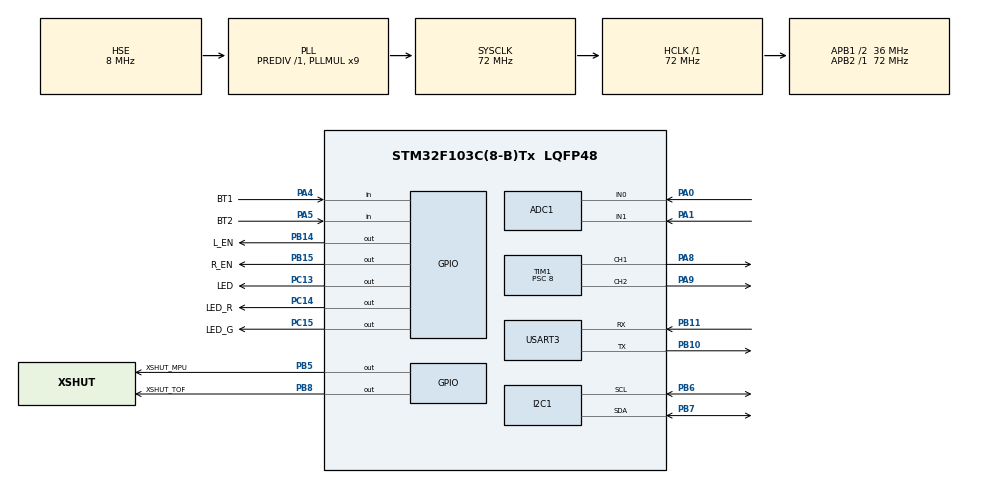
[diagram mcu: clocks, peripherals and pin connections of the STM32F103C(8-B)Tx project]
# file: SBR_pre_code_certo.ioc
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ADC1.Channel-0\#ChannelRegularConversion=ADC_CHANNEL_0
ADC1.Channel-1\#ChannelRegularConversion=ADC_CHANNEL_1
ADC1.ContinuousConvMode=ENABLE
ADC1.NbrOfConversion=2
ADC1.NbrOfConversionFlag=1
ADC1.Rank-0\#ChannelRegularConversion=1
ADC1.Rank-1\#ChannelRegularConversion=2
ADC1.SamplingTime-0\#ChannelRegularConversion=ADC_SAMPLETIME_28CYCLES_5
ADC1.SamplingTime-1\#ChannelRegularConversion=ADC_SAMPLETIME_28CYCLES_5
ADC1.master=1
Dma.ADC1.0.Direction=DMA_PERIPH_TO_MEMORY
Dma.ADC1.0.Instance=DMA1_Channel1
Dma.ADC1.0.MemDataAlignment=DMA_MDATAALIGN_WORD
Dma.ADC1.0.MemInc=DMA_MINC_ENABLE
Dma.ADC1.0.Mode=DMA_CIRCULAR
Dma.ADC1.0.PeriphDataAlignment=DMA_PDATAALIGN_WORD
Dma.ADC1.0.PeriphInc=DMA_PINC_DISABLE
Dma.ADC1.0.Priority=DMA_PRIORITY_LOW
Dma.Request0=ADC1
Mcu.Family=STM32F1
Mcu.Name=STM32F103C(8-B)Tx
Mcu.Package=LQFP48
NVIC.DMA1_Channel1_IRQn=true\:0\:0\:false\:false\:true\:false\:true
NVIC.PriorityGroup=NVIC_PRIORITYGROUP_4
NVIC.TIM2_IRQn=true\:0\:0\:false\:false\:true\:true\:true
PA0-WKUP.Signal=ADCx_IN0
PA1.Signal=ADCx_IN1
PA13.Mode=Serial_Wire
PA13.Signal=SYS_JTMS-SWDIO
PA14.Mode=Serial_Wire
PA14.Signal=SYS_JTCK-SWCLK
PA4.GPIO_Label=BT1
PA4.Signal=GPIO_Input
PA5.GPIO_Label=BT2
PA5.Signal=GPIO_Input
PA8.Signal=S_TIM1_CH1
PA9.Signal=S_TIM1_CH2
PB10.Mode=Asynchronous
PB10.Signal=USART3_TX
PB11.Mode=Asynchronous
PB11.Signal=USART3_RX
PB14.GPIO_Label=L_EN
PB14.Signal=GPIO_Output
PB15.GPIO_Label=R_EN
PB15.Signal=GPIO_Output
PB5.GPIO_Label=XSHUT_MPU
PB5.Signal=GPIO_Output
PB6.Mode=I2C
PB6.Signal=I2C1_SCL
PB7.Mode=I2C
PB7.Signal=I2C1_SDA
PB8.GPIO_Label=XSHUT_TOF
PB8.Signal=GPIO_Output
PC13-TAMPER-RTC.GPIO_Label=LED
PC13-TAMPER-RTC.Signal=GPIO_Output
PC14-OSC32_IN.GPIO_Label=LED_R
PC14-OSC32_IN.Signal=GPIO_Output
PC15-OSC32_OUT.GPIO_Label=LED_G
PC15-OSC32_OUT.Signal=GPIO_Output
PD0-OSC_IN.Mode=HSE-External-Oscillator
PD0-OSC_IN.Signal=RCC_OSC_IN
PD1-OSC_OUT.Mode=HSE-External-Oscillator
PD1-OSC_OUT.Signal=RCC_OSC_OUT
ProjectManager.HeapSize=0x200
ProjectManager.StackSize=0x400
ProjectManager.TargetToolchain=MDK-ARM V5.27
RCC.ADCPresc=RCC_ADCPCLK2_DIV6
RCC.AHBFreq_Value=72000000
RCC.APB1CLKDivider=RCC_HCLK_DIV2
RCC.APB1Freq_Value=36000000
RCC.APB1TimFreq_Value=72000000
RCC.APB2Freq_Value=72000000
RCC.APB2TimFreq_Value=72000000
RCC.HCLKFreq_Value=72000000
RCC.PLLMUL=RCC_PLL_MUL9
RCC.PLLSourceVirtual=RCC_PLLSOURCE_HSE
RCC.SYSCLKFreq_VALUE=72000000
RCC.SYSCLKSource=RCC_SYSCLKSOURCE_PLLCLK
RCC.USBFreq_Value=72000000
SH.ADCx_IN0.0=ADC1_IN0,IN0
SH.ADCx_IN1.0=ADC1_IN1,IN1
SH.S_TIM1_CH1.0=TIM1_CH1,PWM Generation1 CH1
SH.S_TIM1_CH2.0=TIM1_CH2,PWM Generation2 CH2
TIM1.Channel-PWM\ Generation1\ CH1=TIM_CHANNEL_1
TIM1.Channel-PWM\ Generation2\ CH2=TIM_CHANNEL_2
TIM1.Period=7999
TIM1.Prescaler=8
TIM2.Period=1199
TIM2.Prescaler=2
USART3.VirtualMode=VM_ASYNC
VP_TIM1_VS_ClockSourceINT.Mode=Internal
VP_TIM2_VS_ClockSourceINT.Mode=Internal
board=custom

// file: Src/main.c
/* USER CODE BEGIN Header */
/**
  ******************************************************************************
  * @file           : main.c
  * @brief          : Main program body
  ******************************************************************************
  * @attention
  *
  * <h2><center>&copy; Copyright (c) 2019 STMicroelectronics.
  * All rights reserved.</center></h2>
  *
  * This software component is licensed by ST under BSD 3-Clause license,
  * the "License"; You may not use this file except in compliance with the
  * License. You may obtain a copy of the License at:
  *                        opensource.org/licenses/BSD-3-Clause
  *
  ******************************************************************************
  */
/* USER CODE END Header */

#include "main.h"

/* USER CODE BEGIN Includes */
#include "VL53L0X.h"
#include "sd_hal_mpu6050.h"
#include "math.h"
/* USER CODE END Includes */

/* USER CODE BEGIN PD */

/******************************************************************************
VL53L0X DEFINITIONS:
		LONG_RANGE: increases the sensitivity of the sensor and extends its
								potential range, but increases the likelihood of getting an
								inaccurate reading because of reflections from objects other
								than the intended target. It works best in dark conditions.
		HIGH_SPEED:	higher speed at the cost of lower accuracy. OR
 HIGH_ACCURACY:	higher accuracy at the cost of lower speed.
 ******************************************************************************/

//#define LONG_RANGE
#define HIGH_SPEED
//#define HIGH_ACCURACY

#define PI  3.14159265359
#define n   5

/* USER CODE END PD */

ADC_HandleTypeDef hadc1;
DMA_HandleTypeDef hdma_adc1;

I2C_HandleTypeDef hi2c1;

TIM_HandleTypeDef htim1;
TIM_HandleTypeDef htim2;

UART_HandleTypeDef huart3;

/* USER CODE BEGIN PV */

// Estruturas MPU6050
SD_MPU6050 mpu1;						// Variáveis da leitura
SD_MPU6050_Result result;		// Resultado da inicialização

// Variáveis de leitura do MPU6050
int16_t g_x = 0;
int16_t g_y = 0;
int16_t g_z = 0;
int16_t a_x = 0;
int16_t a_y = 0;
int16_t a_z = 0;

// Contagem de tempo
uint32_t timer = 0;
double delta_t = 0.0;

// Medição do ângulo
double roll = 0.0;

//Variaveis da biblioteca Kalman
double Q_angle = 0.001;
double Q_bias = 0.003;
double R_measure = 0.03;

double angle = 0.0; 	// Reset the angle
double rate = 0.0;
double bias = 0.0; 		// Reset bias
double gyroXrate = 0.0;
double gyroXangle = 0.0;
double compAngleX = 0.0;
double kalAngleX = 0.0;

float P[2][2];		// Since we assume that the bias is 0 and we know the starting angle (use setAngle), the error covariance matrix is set like so - see: http://en.wikipedia.org/wiki/Kalman_filter#Example_application.2C_technical

// Estrutura de parâmetros iniciais do VL53L0X
struct VL53L0X myTOFsensor = {.hi2c = &hi2c1, .io_2v8 = true, .address = 0x29, .io_timeout = 800, .did_timeout = false};

// Variáveis de medição para o VL53L0X
uint16_t distance = 65535;
uint16_t testValue = 65535;

// Checagem de funcionamento dos sensores
bool VL53L0X_OK = false;
bool MPU6050_OK = false;

// Leitura dos botões
bool bt1 = false;
bool bt2 = false;

// Leitura de velocidade
double velocidade = 0.0;
double sentido = 0.0;

// Variáveis de início e parada
bool parar = true;
bool equilibrio = false;
bool distancia = false;

// Mínimos e máximos de PWM
double PWM_max_eq = 0.0;
double PWM_max_dt = 0.0;
double PWM_min_hr = 0.0;
double PWM_min_ahr = 0.0;
double PWM = 0.0;

// Variáveis de controle dos motores (controle de ângulo/equilibrio)
double erro_mt = 0.0;
double erro_mt_a = 0.0;

double PID_mt = 0.0;
double P_mt = 0.0;
double D_mt = 0.0;
double I_mt = 0.0;
double I_mt_a = 0.0;

double kp_mt = 0.0;
double ki_mt = 0.0;
double kd_mt = 0.0;

double setpoint_angle = 0.0;

// Variáveis de controle do setpoint do ângulo (controle de velocidade)
double erro_vl = 0.0;
double erro_vl_a = 0.0;

double PID_vl = 0.0;
double P_vl = 0.0;
double D_vl = 0.0;
double I_vl = 0.0;
double I_vl_a = 0.0;

double kp_vl = 0.0;
double ki_vl = 0.0;
double kd_vl = 0.0;

double setpoint_angle_min = 0.0;
double setpoint_angle_max = 0.0;
double setpoint_angle_PID = 0.0;

double setpoint_velocidade_eq = 0.0;

// Váriáveis de controle de distância
double erro_dt = 0.0;
double erro_dt_a = 0.0;

double PID_dt = 0.0;
double P_dt= 0.0;
double D_dt= 0.0;
double I_dt = 0.0;
double I_dt_a = 0.0;

double kp_dt = 0.0;
double ki_dt = 0.0;
double kd_dt = 0.0;

double setpoint_velocidade_min = 0.0;
double setpoint_velocidade_max = 0.0;
double setpoint_velocidade_dt = 0.0;

double setpoint_distancia = 0.0;

double distance_mm[n];
double distance_mm_a[n];

uint32_t ADT[2];							// Vetor que armazena as leituras do ADC1

/* USER CODE END PV */

void SystemClock_Config(void);
static void MX_GPIO_Init(void);
static void MX_DMA_Init(void);
static void MX_ADC1_Init(void);
static void MX_I2C1_Init(void);
static void MX_TIM1_Init(void);
static void MX_USART3_UART_Init(void);
static void MX_TIM2_Init(void);

/* USER CODE BEGIN 0 */

bool Reset_MPU6050()
{
	bool working = false;

	HAL_GPIO_WritePin(XSHUT_MPU_GPIO_Port, XSHUT_MPU_Pin, GPIO_PIN_RESET);	// Tira a energia do CI
	HAL_Delay(50);
	HAL_GPIO_WritePin(XSHUT_MPU_GPIO_Port, XSHUT_MPU_Pin, GPIO_PIN_SET);		// Retorna a energia do CI

	HAL_Delay(1000);

	result = SD_MPU6050_Init(&hi2c1,&mpu1,SD_MPU6050_Device_0,SD_MPU6050_Accelerometer_2G,SD_MPU6050_Gyroscope_250s );
	if (result == SD_MPU6050_Result_Ok)	working = true;			// Checa se o sensor está funcionando

	return working;
}

bool Reset_VL53L0X()
{
	bool working = false;

	HAL_GPIO_WritePin(XSHUT_TOF_GPIO_Port, XSHUT_TOF_Pin, GPIO_PIN_RESET);	// Tira a energis do CI
	HAL_Delay(50);
	HAL_GPIO_WritePin(XSHUT_TOF_GPIO_Port, XSHUT_TOF_Pin, GPIO_PIN_SET);		// Retorna a energia do CI

	if (VL53L0X_init(&myTOFsensor))
	{ // Se o sensor iniciou...
		VL53L0X_startContinuous(&myTOFsensor, 0);		// Habilita a medição
		for (int k = 0; k < 2; k++)			// Realiza 3 medições
		{
			testValue = VL53L0X_readRangeContinuousMillimeters(&myTOFsensor);

			if (testValue > 8500 || VL53L0X_timeoutOccurred(&myTOFsensor))
			{ // Se a medição saiu do range ou ocorreu um timeout...
				VL53L0X_stopContinuous(&myTOFsensor);		// Desabilita a medição
				working = false;
				break;
			}
			else 	// Se a medição ocorreu conforme esperado...
			{
				working = true;
			}
		}
	}

	return working;
}

void Motor_Horario(int velocidade)
{
		HAL_GPIO_WritePin(L_EN_GPIO_Port,L_EN_Pin,GPIO_PIN_SET);
		HAL_GPIO_WritePin(R_EN_GPIO_Port,R_EN_Pin,GPIO_PIN_SET);
		TIM1 -> CCR1 = velocidade;
		TIM1 -> CCR2 = 0;
}

void Motor_AntiHorario(int velocidade)
{
		HAL_GPIO_WritePin(L_EN_GPIO_Port,L_EN_Pin,GPIO_PIN_SET);
		HAL_GPIO_WritePin(R_EN_GPIO_Port,R_EN_Pin,GPIO_PIN_SET);
		TIM1 -> CCR1 = 0;
		TIM1 -> CCR2 = velocidade;
}

void Motor_Parar()
{
		HAL_GPIO_WritePin(L_EN_GPIO_Port,L_EN_Pin,GPIO_PIN_RESET);
		HAL_GPIO_WritePin(R_EN_GPIO_Port,R_EN_Pin,GPIO_PIN_RESET);
		TIM1 -> CCR1 = 0;
		TIM1 -> CCR2 = 0;
}

void LedG_Liga()
{
	HAL_GPIO_WritePin(LED_G_GPIO_Port,LED_G_Pin, GPIO_PIN_SET);
}

void LedG_Desliga()
{
	HAL_GPIO_WritePin(LED_G_GPIO_Port,LED_G_Pin, GPIO_PIN_RESET);
}

void LedR_Liga()
{
	HAL_GPIO_WritePin(LED_R_GPIO_Port,LED_R_Pin, GPIO_PIN_SET);
}

void LedR_Desliga()
{
	HAL_GPIO_WritePin(LED_R_GPIO_Port,LED_R_Pin, GPIO_PIN_RESET);
}

void Leitura_Botoes()
{
	if(!bt2 && !bt1)
	{
		if(HAL_GPIO_ReadPin(BT1_GPIO_Port,BT1_Pin) == GPIO_PIN_SET)
		{
			HAL_Delay(30);
			if(HAL_GPIO_ReadPin(BT1_GPIO_Port,BT1_Pin) == GPIO_PIN_SET)
			{
				while(HAL_GPIO_ReadPin(BT1_GPIO_Port,BT1_Pin) == GPIO_PIN_SET);
				bt1 = true;
			}
		}
	}
	else if(!bt2 && bt1)
	{
		if(HAL_GPIO_ReadPin(BT1_GPIO_Port,BT1_Pin) == GPIO_PIN_SET)
		{
			HAL_Delay(30);
			if(HAL_GPIO_ReadPin(BT1_GPIO_Port,BT1_Pin) == GPIO_PIN_SET)
			{
				while(HAL_GPIO_ReadPin(BT1_GPIO_Port,BT1_Pin) == GPIO_PIN_SET);
				bt1 = false;
			}
		}
	}

	if(!bt1 && !bt2)
	{
		if(HAL_GPIO_ReadPin(BT2_GPIO_Port,BT2_Pin) == GPIO_PIN_SET)
		{
			HAL_Delay(30);
			if(HAL_GPIO_ReadPin(BT2_GPIO_Port,BT2_Pin) == GPIO_PIN_SET)
			{
				while(HAL_GPIO_ReadPin(BT2_GPIO_Port,BT2_Pin) == GPIO_PIN_SET);
				bt2 = true;
			}
		}
	}
	else if(!bt1 && bt2)
	{
		if(HAL_GPIO_ReadPin(BT2_GPIO_Port,BT2_Pin) == GPIO_PIN_SET)
		{
			HAL_Delay(30);
			if(HAL_GPIO_ReadPin(BT2_GPIO_Port,BT2_Pin) == GPIO_PIN_SET)
			{
				while(HAL_GPIO_ReadPin(BT2_GPIO_Port,BT2_Pin) == GPIO_PIN_SET);
				bt2 = false;
			}
		}
	}
}

void HAL_TIM_PeriodElapsedCallback(TIM_HandleTypeDef *htim)
{
	if (htim->Instance==TIM2)
	{
		timer++;
	}
}

float Kalman(float newAngle, float newRate, float dt)
{
	// KasBot V2  -  Kalman filter module - http://www.x-firm.com/?page_id=145
	// Modified by Kristian Lauszus
	// See my blog post for more information: http://blog.tkjelectronics.dk/2012/09/a-practical-approach-to-kalman-filter-and-how-to-implement-it

	// Discrete Kalman filter time update equations - Time Update ("Predict")
	// Update xhat - Project the state ahead
	/* Step 1 */
	rate = newRate - bias;
	angle += dt * rate;

	// Update estimation error covariance - Project the error covariance ahead
	/* Step 2 */
	P[0][0] += dt * (dt*P[1][1] - P[0][1] - P[1][0] + Q_angle);
	P[0][1] -= dt * P[1][1];
	P[1][0] -= dt * P[1][1];
	P[1][1] += Q_bias * dt;

	// Discrete Kalman filter measurement update equations - Measurement Update ("Correct")
	// Calculate Kalman gain - Compute the Kalman gain
	/* Step 4 */
	float S = P[0][0] + R_measure; // Estimate error
	/* Step 5 */
	float K[2]; // Kalman gain - This is a 2x1 vector
	K[0] = P[0][0] / S;
	K[1] = P[1][0] / S;

	// Calculate angle and bias - Update estimate with measurement zk (newAngle)
	/* Step 3 */
	float y = newAngle - angle; // Angle difference
	/* Step 6 */
	angle += K[0] * y;
	bias += K[1] * y;

	// Calculate estimation error covariance - Update the error covariance
	/* Step 7 */
	float P00_temp = P[0][0];
	float P01_temp = P[0][1];

	P[0][0] -= K[0] * P00_temp;
	P[0][1] -= K[0] * P01_temp;
	P[1][0] -= K[1] * P00_temp;
	P[1][1] -= K[1] * P01_temp;

	return angle;
}

/* USER CODE END 0 */

int main(void)
{
  /* USER CODE BEGIN 1 */

	SD_MPU6050_Result result ;

  /* USER CODE END 1 */

  /* MCU Configuration--------------------------------------------------------*/

  /* Reset of all peripherals, Initializes the Flash interface and the Systick. */
  HAL_Init();

  /* Configure the system clock */
  SystemClock_Config();

  /* Initialize all configured peripherals */
  MX_GPIO_Init();
  MX_DMA_Init();
  MX_ADC1_Init();
  MX_I2C1_Init();
  MX_TIM1_Init();
  MX_USART3_UART_Init();
  MX_TIM2_Init();
  /* USER CODE BEGIN 2 */

	// Inicialização do ADC1
	if (HAL_ADC_Start(&hadc1) != HAL_OK)
	return 0;
	if (HAL_ADC_Start_DMA(&hadc1, (uint32_t*)ADT, 2) != HAL_OK)
	return 0;

	// Inicialização do TIM1 para PWM
	HAL_TIM_PWM_Start(&htim1, TIM_CHANNEL_1);
	HAL_TIM_PWM_Start(&htim1, TIM_CHANNEL_2);
	TIM1 -> CCR1 = 0;		// Zero na saída do PWM1
	TIM1 -> CCR2 = 0;  	// Zero na saída do PWM2

	// Inicialização do TIM2
	HAL_TIM_Base_Start_IT(&htim2);

	// Reset inicial dos sensores (por segurança)
	MPU6050_OK = Reset_MPU6050();
	VL53L0X_OK = Reset_VL53L0X();

	// Definições de medição do VL53L0X
	#ifdef LONG_RANGE
		// lower the return signal rate limit (default is 0.25 MCPS)
		VL53L0X_setSignalRateLimit(&myTOFsensor, 0.1);
		// increase laser pulse periods (defaults are 14 and 10 PCLKs)
		VL53L0X_setVcselPulsePeriod(&myTOFsensor, VcselPeriodPreRange, 18);
		VL53L0X_setVcselPulsePeriod(&myTOFsensor, VcselPeriodFinalRange, 14);
	#endif
	#ifdef HIGH_SPEED
		// reduce timing budget to 20 ms (default is about 33 ms)
		VL53L0X_setMeasurementTimingBudget(&myTOFsensor, 20000);
	#else //HIGH_ACCURACY
		// increase timing budget to 200 ms
		VL53L0X_setMeasurementTimingBudget(&myTOFsensor, 200000);
	#endif

	// Setpoint de distância
	setpoint_distancia = 100.0;

	// Setpoint de velocidade de equilíbrio do robô
	setpoint_velocidade_eq = 0.0;

	// Setpoint de ângulo
	setpoint_angle = 9.0;

	// Definição de velocidade mínima e máxima
	//setpoint_velocidade_min = setpoint_velocidade - 300.0;
	//setpoint_velocidade_max = setpoint_velocidade + 300.0;

	// Definição de`ângulo mínimo e máximo
	setpoint_angle_min = setpoint_angle - 3.0;
	setpoint_angle_max = setpoint_angle + 3.0;

	// Definição de PWM mínimo e máximo
	PWM_min_hr = 550.0;
	PWM_min_ahr = 350.0;
	PWM_max_eq = 7000.0;
	PWM_max_dt = 2000.0;

	// Definição de ganhos do controle de velocidade
	kp_vl = 0.0025; //0.001     	                                                                                ;
	kd_vl = 0.0;
	ki_vl = 0.0000025;

	// Definição de ganhos do controle do ângulo
	kp_mt = 550.0;     	//ganho proporcional 600                                                                                    ;
	kd_mt = 100.0;			//ganho derivativo 150
	ki_mt = 70.0;			//ganho integral 100

	// Definição de ganhos do controle de distância
	kp_dt = 12.0;     	                                                                                ;
	kd_dt = 0.1;
	ki_dt = 0.001;

  /* USER CODE END 2 */

  /* Infinite loop */
  /* USER CODE BEGIN WHILE */
  while (1)
  {
		if (!VL53L0X_OK)
		{	// Se o VL53L0X não estiver funcionando adequadamente...
			HAL_GPIO_WritePin(LED_GPIO_Port, LED_Pin, GPIO_PIN_RESET);
			VL53L0X_OK = Reset_VL53L0X();
		}
		else if (!MPU6050_OK)
		{ // Se o MPU6050 não estiver funcionando adequadamente...
			HAL_GPIO_WritePin(LED_GPIO_Port, LED_Pin, GPIO_PIN_RESET);
			MPU6050_OK = Reset_MPU6050();
		}
		else
		{ // Se ambos os sensores estiverem funcionando...

			// Acende o led da placa para sinalizar o funcionamento
			HAL_GPIO_WritePin(LED_GPIO_Port, LED_Pin, GPIO_PIN_SET);

			// Verifica estado dos botões
			Leitura_Botoes();

			// Mede distância do sensor TOF
			distance = VL53L0X_readRangeContinuousMillimeters(&myTOFsensor);

			// Se parar de funcionar/timeout ocorrer, sinaliza que parou de funcionar
			if (distance > 10000 || VL53L0X_timeoutOccurred(&myTOFsensor))
			{
				VL53L0X_OK = false;
			}

			// Realiza a leitura do MPU
			SD_MPU6050_ReadGyroscope(&hi2c1,&mpu1);
			g_x = mpu1.Gyroscope_X;
			g_y = mpu1.Gyroscope_Y;
			g_z = mpu1.Gyroscope_Z;

			SD_MPU6050_ReadAccelerometer(&hi2c1,&mpu1);
			a_x = mpu1.Accelerometer_X;
			a_y = mpu1.Accelerometer_Y;
			a_z = mpu1.Accelerometer_Z;

			// Define o dt
			delta_t = timer*0.00005;
			timer = 0;

			// Ajusta a leitura do acelerômetro e do giroscópio
			roll = atan2(a_x,(sqrt(a_y*a_y + a_z*a_z))) * 180/PI;

			gyroXrate = -g_y / 131.0;

			// Aplica filtro de Kalman no roll
			kalAngleX = Kalman(roll,gyroXrate,delta_t);

			// Filtro complementar (?)
			gyroXangle += gyroXrate * delta_t;

			compAngleX = 0.96 * (compAngleX + gyroXrate * delta_t) + 0.04 * kalAngleX;

			if (gyroXangle < -90 || gyroXangle > 90)
				gyroXangle = kalAngleX;

			// Verifica velocidade dos motores e faz a média entre eles
			velocidade = sentido*(ADT[0] + ADT[1])/2.0;

			// Verifica critério de início e parada
			if (bt1)
			{
				equilibrio = false;
				distancia = true;
				parar = false;
			}
			else if (bt2)
			{
				equilibrio = true;
				distancia = false;
				parar = false;
			}
			else
			{
				equilibrio = false;
				distancia = false;
				parar = true;

				// Zerando os termos de controle
				I_vl_a = 0.0; 		I_mt_a = 0.0; 		I_dt_a = 0.0;
				erro_vl_a = 0.0;	erro_mt_a = 0.0;	erro_dt_a = 0.0;

			}

			if (parar)	// Antes de apertar qualquer botão e após apertar BT2
			{
				HAL_GPIO_WritePin(LED_G_GPIO_Port, LED_G_Pin, GPIO_PIN_RESET);
				HAL_GPIO_WritePin(LED_R_GPIO_Port, LED_R_Pin, GPIO_PIN_RESET);
				Motor_Parar();
			}
			else if	(equilibrio)	// Após apertar BT2 para iniciar o funcionamento do equilíbrio
			{
				HAL_GPIO_WritePin(LED_G_GPIO_Port, LED_G_Pin, GPIO_PIN_SET);
				HAL_GPIO_WritePin(LED_R_GPIO_Port, LED_R_Pin, GPIO_PIN_RESET);

				//------- Rotina do controle de velocidade --------//
				erro_vl = setpoint_velocidade_eq - velocidade;

				P_vl = kp_vl * erro_vl;
				I_vl = ki_vl * erro_vl + I_vl_a;
				D_vl = kd_vl * (erro_vl - erro_vl_a);

				PID_vl = P_vl + I_vl + D_vl;

				I_vl_a = I_vl;
				erro_vl_a = erro_vl;

				// Joga o sinal do controle para o setpoint do ângulo
				setpoint_angle_PID = setpoint_angle - PID_vl;

				if (fabs(setpoint_angle_PID) > setpoint_angle_max)
				{
					setpoint_angle_PID = setpoint_angle_max;
					//I_vl_a = setpoint_angle_PID;
				}
				else if (fabs(setpoint_angle_PID) < setpoint_angle_min)
				{
					setpoint_angle_PID = setpoint_angle_min;
					//I_vl_a = setpoint_angle_PID;
				}

				//------- Rotina do controle de ângulo --------//
				erro_mt = setpoint_angle_PID - compAngleX;

				P_mt = kp_mt * erro_mt;
				I_mt = (ki_mt * erro_mt) + I_mt_a;
				D_mt = kd_mt * (erro_mt - erro_mt_a);

				PID_mt = P_mt + I_mt + D_mt;

				I_mt_a = I_mt;
				erro_mt_a = erro_mt;

				// Joga o sinal do controle para o PWM dos motores
				PWM = PID_mt;

				if (PWM > 0)
				{
						sentido = 1.0;
					// Se o PWM resultante for maior que o PWM máximo, limita o sinal ao máximo (mantendo o módulo)
					if ((fabs(PWM) + PWM_min_hr) > PWM_max_eq)
					{
						PWM = PWM_max_eq * PWM/fabs(PWM);
						if (I_mt_a > PWM)
							I_mt_a = PWM;
					}
					Motor_Horario(fabs(PWM) + PWM_min_hr);
				}
				else if (PWM < 0)
				{
					sentido = -1.0;
					// Se o PWM resultante for maior que o PWM máximo, limita o sinal ao máximo (mantendo o módulo)
					if ((fabs(PWM) + PWM_min_ahr) > PWM_max_eq)
					{
						PWM = PWM_max_eq * PWM/fabs(PWM);
						if (I_mt_a < PWM)
							I_mt_a = PWM;
					}
					Motor_AntiHorario(fabs(PWM) + PWM_min_ahr);
				}
			}
			else if (distancia)
			{
				HAL_GPIO_WritePin(LED_G_GPIO_Port, LED_G_Pin, GPIO_PIN_RESET);
				HAL_GPIO_WritePin(LED_R_GPIO_Port, LED_R_Pin, GPIO_PIN_SET);

				// Média móvel do erro
				for (int k = 0; k < n; k++)
					distance_mm_a[k] = distance_mm[k];

				distance_mm[0] = distance;

				for (int k = 1; k < n; k++)
					distance_mm[k] = distance_mm_a[k-1];

				distance = 0.0;
				for (int k = 0; k < n; k++)
					distance += distance_mm[k];

				distance = distance/n;

				if (distance > 200.0) distance = 200.0;

				//------- Rotina do controle de distância --------//
				erro_dt = setpoint_distancia - distance;

				P_dt = kp_dt * erro_dt;
				I_dt = ki_dt * erro_dt + I_dt_a;
				D_dt = kd_dt * (erro_dt - erro_dt_a);

				PID_dt = P_dt + I_dt + D_dt;

				I_dt_a = I_dt;
				erro_dt_a = erro_dt;

				// Joga o sinal do controle para o setpoint da velocidade
				PWM = PID_dt;

				if (PWM > 0)
				{
					sentido = 1.0;
					// Se o PWM resultante for maior que o PWM máximo, limita o sinal ao máximo (mantendo o módulo)
					if ((fabs(PWM) + PWM_min_hr) > PWM_max_dt)
					{
						PWM = PWM_max_dt * PWM/fabs(PWM);
						if (I_mt_a > PWM)
							I_mt_a = PWM;
					}
					Motor_Horario(fabs(PWM) + PWM_min_hr);
				}
				else if (PWM < 0)
				{
					sentido = -1.0;
					// Se o PWM resultante for maior que o PWM máximo, limita o sinal ao máximo (mantendo o módulo)
					if ((fabs(PWM) + PWM_min_ahr) > PWM_max_dt)
					{
						PWM = PWM_max_dt * PWM/fabs(PWM);
						if (I_mt_a < PWM)
							I_mt_a = PWM;
					}
					Motor_AntiHorario(fabs(PWM) + PWM_min_ahr);
				}
			}

//			// Teste dos motores
//			if(bt1)
//			{
//				Motor_Horario(1500 + PWM_min_hr);
//				HAL_GPIO_WritePin(LED_G_GPIO_Port,LED_G_Pin,GPIO_PIN_SET);
//			}
//			else if(bt2)
//			{
//				Motor_AntiHorario(1500 + PWM_min_ahr);
//				HAL_GPIO_WritePin(LED_R_GPIO_Port,LED_R_Pin,GPIO_PIN_SET);
//			}
//			else
//			{
//				Motor_Parar();
//				HAL_GPIO_WritePin(LED_G_GPIO_Port,LED_G_Pin,GPIO_PIN_RESET);
//				HAL_GPIO_WritePin(LED_R_GPIO_Port,LED_R_Pin,GPIO_PIN_RESET);
//			}
		}
    /* USER CODE END WHILE */

  }
}

void SystemClock_Config(void)
{
  RCC_OscInitTypeDef RCC_OscInitStruct = {0};
  RCC_ClkInitTypeDef RCC_ClkInitStruct = {0};
  RCC_PeriphCLKInitTypeDef PeriphClkInit = {0};

  /** Initializes the CPU, AHB and APB busses clocks
  */
  RCC_OscInitStruct.OscillatorType = RCC_OSCILLATORTYPE_HSE;
  RCC_OscInitStruct.HSEState = RCC_HSE_ON;
  RCC_OscInitStruct.HSEPredivValue = RCC_HSE_PREDIV_DIV1;
  RCC_OscInitStruct.HSIState = RCC_HSI_ON;
  RCC_OscInitStruct.PLL.PLLState = RCC_PLL_ON;
  RCC_OscInitStruct.PLL.PLLSource = RCC_PLLSOURCE_HSE;
  RCC_OscInitStruct.PLL.PLLMUL = RCC_PLL_MUL9;
  if (HAL_RCC_OscConfig(&RCC_OscInitStruct) != HAL_OK)
  {
    Error_Handler();
  }
  /** Initializes the CPU, AHB and APB busses clocks
  */
  RCC_ClkInitStruct.ClockType = RCC_CLOCKTYPE_HCLK|RCC_CLOCKTYPE_SYSCLK
                              |RCC_CLOCKTYPE_PCLK1|RCC_CLOCKTYPE_PCLK2;
  RCC_ClkInitStruct.SYSCLKSource = RCC_SYSCLKSOURCE_PLLCLK;
  RCC_ClkInitStruct.AHBCLKDivider = RCC_SYSCLK_DIV1;
  RCC_ClkInitStruct.APB1CLKDivider = RCC_HCLK_DIV2;
  RCC_ClkInitStruct.APB2CLKDivider = RCC_HCLK_DIV1;

  if (HAL_RCC_ClockConfig(&RCC_ClkInitStruct, FLASH_LATENCY_2) != HAL_OK)
  {
    Error_Handler();
  }
  PeriphClkInit.PeriphClockSelection = RCC_PERIPHCLK_ADC;
  PeriphClkInit.AdcClockSelection = RCC_ADCPCLK2_DIV6;
  if (HAL_RCCEx_PeriphCLKConfig(&PeriphClkInit) != HAL_OK)
  {
    Error_Handler();
  }
}

static void MX_ADC1_Init(void)
{

  ADC_ChannelConfTypeDef sConfig = {0};

  /** Common config
  */
  hadc1.Instance = ADC1;
  hadc1.Init.ScanConvMode = ADC_SCAN_ENABLE;
  hadc1.Init.ContinuousConvMode = ENABLE;
  hadc1.Init.DiscontinuousConvMode = DISABLE;
  hadc1.Init.ExternalTrigConv = ADC_SOFTWARE_START;
  hadc1.Init.DataAlign = ADC_DATAALIGN_RIGHT;
  hadc1.Init.NbrOfConversion = 2;
  if (HAL_ADC_Init(&hadc1) != HAL_OK)
  {
    Error_Handler();
  }
  /** Configure Regular Channel
  */
  sConfig.Channel = ADC_CHANNEL_0;
  sConfig.Rank = ADC_REGULAR_RANK_1;
  sConfig.SamplingTime = ADC_SAMPLETIME_28CYCLES_5;
  if (HAL_ADC_ConfigChannel(&hadc1, &sConfig) != HAL_OK)
  {
    Error_Handler();
  }
  /** Configure Regular Channel
  */
  sConfig.Channel = ADC_CHANNEL_1;
  sConfig.Rank = ADC_REGULAR_RANK_2;
  if (HAL_ADC_ConfigChannel(&hadc1, &sConfig) != HAL_OK)
  {
    Error_Handler();
  }

}

static void MX_I2C1_Init(void)
{

  hi2c1.Instance = I2C1;
  hi2c1.Init.ClockSpeed = 100000;
  hi2c1.Init.DutyCycle = I2C_DUTYCYCLE_2;
  hi2c1.Init.OwnAddress1 = 0;
  hi2c1.Init.AddressingMode = I2C_ADDRESSINGMODE_7BIT;
  hi2c1.Init.DualAddressMode = I2C_DUALADDRESS_DISABLE;
  hi2c1.Init.OwnAddress2 = 0;
  hi2c1.Init.GeneralCallMode = I2C_GENERALCALL_DISABLE;
  hi2c1.Init.NoStretchMode = I2C_NOSTRETCH_DISABLE;
  if (HAL_I2C_Init(&hi2c1) != HAL_OK)
  {
    Error_Handler();
  }

}

static void MX_TIM1_Init(void)
{

  TIM_ClockConfigTypeDef sClockSourceConfig = {0};
  TIM_MasterConfigTypeDef sMasterConfig = {0};
  TIM_OC_InitTypeDef sConfigOC = {0};
  TIM_BreakDeadTimeConfigTypeDef sBreakDeadTimeConfig = {0};

  htim1.Instance = TIM1;
  htim1.Init.Prescaler = 8;
  htim1.Init.CounterMode = TIM_COUNTERMODE_UP;
  htim1.Init.Period = 7999;
  htim1.Init.ClockDivision = TIM_CLOCKDIVISION_DIV1;
  htim1.Init.RepetitionCounter = 0;
  htim1.Init.AutoReloadPreload = TIM_AUTORELOAD_PRELOAD_DISABLE;
  if (HAL_TIM_Base_Init(&htim1) != HAL_OK)
  {
    Error_Handler();
  }
  sClockSourceConfig.ClockSource = TIM_CLOCKSOURCE_INTERNAL;
  if (HAL_TIM_ConfigClockSource(&htim1, &sClockSourceConfig) != HAL_OK)
  {
    Error_Handler();
  }
  if (HAL_TIM_PWM_Init(&htim1) != HAL_OK)
  {
    Error_Handler();
  }
  sMasterConfig.MasterOutputTrigger = TIM_TRGO_RESET;
  sMasterConfig.MasterSlaveMode = TIM_MASTERSLAVEMODE_DISABLE;
  if (HAL_TIMEx_MasterConfigSynchronization(&htim1, &sMasterConfig) != HAL_OK)
  {
    Error_Handler();
  }
  sConfigOC.OCMode = TIM_OCMODE_PWM1;
  sConfigOC.Pulse = 0;
  sConfigOC.OCPolarity = TIM_OCPOLARITY_HIGH;
  sConfigOC.OCNPolarity = TIM_OCNPOLARITY_HIGH;
  sConfigOC.OCFastMode = TIM_OCFAST_DISABLE;
  sConfigOC.OCIdleState = TIM_OCIDLESTATE_RESET;
  sConfigOC.OCNIdleState = TIM_OCNIDLESTATE_RESET;
  if (HAL_TIM_PWM_ConfigChannel(&htim1, &sConfigOC, TIM_CHANNEL_1) != HAL_OK)
  {
    Error_Handler();
  }
  if (HAL_TIM_PWM_ConfigChannel(&htim1, &sConfigOC, TIM_CHANNEL_2) != HAL_OK)
  {
    Error_Handler();
  }
  sBreakDeadTimeConfig.OffStateRunMode = TIM_OSSR_DISABLE;
  sBreakDeadTimeConfig.OffStateIDLEMode = TIM_OSSI_DISABLE;
  sBreakDeadTimeConfig.LockLevel = TIM_LOCKLEVEL_OFF;
  sBreakDeadTimeConfig.DeadTime = 0;
  sBreakDeadTimeConfig.BreakState = TIM_BREAK_DISABLE;
  sBreakDeadTimeConfig.BreakPolarity = TIM_BREAKPOLARITY_HIGH;
  sBreakDeadTimeConfig.AutomaticOutput = TIM_AUTOMATICOUTPUT_DISABLE;
  if (HAL_TIMEx_ConfigBreakDeadTime(&htim1, &sBreakDeadTimeConfig) != HAL_OK)
  {
    Error_Handler();
  }
  HAL_TIM_MspPostInit(&htim1);

}

static void MX_TIM2_Init(void)
{

  TIM_ClockConfigTypeDef sClockSourceConfig = {0};
  TIM_MasterConfigTypeDef sMasterConfig = {0};

  htim2.Instance = TIM2;
  htim2.Init.Prescaler = 2;
  htim2.Init.CounterMode = TIM_COUNTERMODE_UP;
  htim2.Init.Period = 1199;
  htim2.Init.ClockDivision = TIM_CLOCKDIVISION_DIV1;
  htim2.Init.AutoReloadPreload = TIM_AUTORELOAD_PRELOAD_DISABLE;
  if (HAL_TIM_Base_Init(&htim2) != HAL_OK)
  {
    Error_Handler();
  }
  sClockSourceConfig.ClockSource = TIM_CLOCKSOURCE_INTERNAL;
  if (HAL_TIM_ConfigClockSource(&htim2, &sClockSourceConfig) != HAL_OK)
  {
    Error_Handler();
  }
  sMasterConfig.MasterOutputTrigger = TIM_TRGO_RESET;
  sMasterConfig.MasterSlaveMode = TIM_MASTERSLAVEMODE_DISABLE;
  if (HAL_TIMEx_MasterConfigSynchronization(&htim2, &sMasterConfig) != HAL_OK)
  {
    Error_Handler();
  }

}

static void MX_USART3_UART_Init(void)
{

  huart3.Instance = USART3;
  huart3.Init.BaudRate = 115200;
  huart3.Init.WordLength = UART_WORDLENGTH_8B;
  huart3.Init.StopBits = UART_STOPBITS_1;
  huart3.Init.Parity = UART_PARITY_NONE;
  huart3.Init.Mode = UART_MODE_TX_RX;
  huart3.Init.HwFlowCtl = UART_HWCONTROL_NONE;
  huart3.Init.OverSampling = UART_OVERSAMPLING_16;
  if (HAL_UART_Init(&huart3) != HAL_OK)
  {
    Error_Handler();
  }

}

static void MX_DMA_Init(void)
{

  /* DMA controller clock enable */
  __HAL_RCC_DMA1_CLK_ENABLE();

  /* DMA interrupt init */
  /* DMA1_Channel1_IRQn interrupt configuration */
  HAL_NVIC_SetPriority(DMA1_Channel1_IRQn, 0, 0);
  HAL_NVIC_EnableIRQ(DMA1_Channel1_IRQn);

}

static void MX_GPIO_Init(void)
{
  GPIO_InitTypeDef GPIO_InitStruct = {0};

  /* GPIO Ports Clock Enable */
  __HAL_RCC_GPIOC_CLK_ENABLE();
  __HAL_RCC_GPIOD_CLK_ENABLE();
  __HAL_RCC_GPIOA_CLK_ENABLE();
  __HAL_RCC_GPIOB_CLK_ENABLE();

  /*Configure GPIO pin Output Level */
  HAL_GPIO_WritePin(GPIOC, LED_Pin|LED_R_Pin|LED_G_Pin, GPIO_PIN_RESET);

  /*Configure GPIO pin Output Level */
  HAL_GPIO_WritePin(GPIOB, L_EN_Pin|R_EN_Pin|XSHUT_MPU_Pin|XSHUT_TOF_Pin, GPIO_PIN_RESET);

  /*Configure GPIO pins : LED_Pin LED_R_Pin LED_G_Pin */
  GPIO_InitStruct.Pin = LED_Pin|LED_R_Pin|LED_G_Pin;
  GPIO_InitStruct.Mode = GPIO_MODE_OUTPUT_PP;
  GPIO_InitStruct.Pull = GPIO_NOPULL;
  GPIO_InitStruct.Speed = GPIO_SPEED_FREQ_LOW;
  HAL_GPIO_Init(GPIOC, &GPIO_InitStruct);

  /*Configure GPIO pins : BT1_Pin BT2_Pin */
  GPIO_InitStruct.Pin = BT1_Pin|BT2_Pin;
  GPIO_InitStruct.Mode = GPIO_MODE_INPUT;
  GPIO_InitStruct.Pull = GPIO_NOPULL;
  HAL_GPIO_Init(GPIOA, &GPIO_InitStruct);

  /*Configure GPIO pins : L_EN_Pin R_EN_Pin XSHUT_MPU_Pin XSHUT_TOF_Pin */
  GPIO_InitStruct.Pin = L_EN_Pin|R_EN_Pin|XSHUT_MPU_Pin|XSHUT_TOF_Pin;
  GPIO_InitStruct.Mode = GPIO_MODE_OUTPUT_PP;
  GPIO_InitStruct.Pull = GPIO_NOPULL;
  GPIO_InitStruct.Speed = GPIO_SPEED_FREQ_LOW;
  HAL_GPIO_Init(GPIOB, &GPIO_InitStruct);

}

void Error_Handler(void)
{
}

/************************ (C) COPYRIGHT STMicroelectronics *****END OF FILE****/
